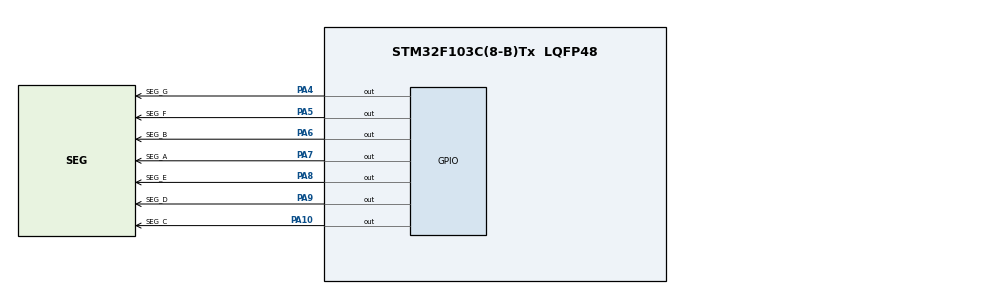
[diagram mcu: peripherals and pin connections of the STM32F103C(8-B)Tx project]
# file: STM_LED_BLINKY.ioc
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Mcu.Family=STM32F1
Mcu.Name=STM32F103C(8-B)Tx
Mcu.Package=LQFP48
NVIC.PriorityGroup=NVIC_PRIORITYGROUP_4
PA10.GPIO_Label=SEG_C
PA10.GPIO_OutputLevel=GPIO_PIN_RESET
PA10.Signal=GPIO_Output
PA13.Mode=Serial_Wire
PA13.Signal=SYS_JTMS-SWDIO
PA14.Mode=Serial_Wire
PA14.Signal=SYS_JTCK-SWCLK
PA4.GPIO_Label=SEG_G
PA4.GPIO_OutputLevel=GPIO_PIN_RESET
PA4.Signal=GPIO_Output
PA5.GPIO_Label=SEG_F
PA5.GPIO_OutputLevel=GPIO_PIN_RESET
PA5.Signal=GPIO_Output
PA6.GPIO_Label=SEG_B
PA6.GPIO_OutputLevel=GPIO_PIN_RESET
PA6.Signal=GPIO_Output
PA7.GPIO_Label=SEG_A
PA7.GPIO_OutputLevel=GPIO_PIN_RESET
PA7.Signal=GPIO_Output
PA8.GPIO_Label=SEG_E
PA8.GPIO_OutputLevel=GPIO_PIN_RESET
PA8.Signal=GPIO_Output
PA9.GPIO_Label=SEG_D
PA9.GPIO_OutputLevel=GPIO_PIN_RESET
PA9.Signal=GPIO_Output
ProjectManager.HeapSize=0x200
ProjectManager.StackSize=0x400
ProjectManager.TargetToolchain=STM32CubeIDE
RCC.APB1Freq_Value=8000000
RCC.APB2Freq_Value=8000000
board=custom

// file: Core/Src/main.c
/* USER CODE BEGIN Header */
/**
  ******************************************************************************
  * @file           : main.c
  * @brief          : Main program body
  ******************************************************************************
  * @attention
  *
  * Copyright (c) 2026 STMicroelectronics.
  * All rights reserved.
  *
  * This software is licensed under terms that can be found in the LICENSE file
  * in the root directory of this software component.
  * If no LICENSE file comes with this software, it is provided AS-IS.
  *
  ******************************************************************************
  */
/* USER CODE END Header */
#include "main.h"

/* USER CODE BEGIN PD */
#define SEGMENT_PINS  (SEG_A_Pin | SEG_B_Pin | SEG_C_Pin | SEG_D_Pin | \
                       SEG_E_Pin | SEG_F_Pin | SEG_G_Pin)
/* USER CODE END PD */

void SystemClock_Config(void);
static void MX_GPIO_Init(void);
/* USER CODE BEGIN PFP */
void display7SEG(int num);
/* USER CODE END PFP */

/* USER CODE BEGIN 0 */
/* The physical display is common-cathode: SET = on, RESET = off. */
static void setSegments(GPIO_PinState a, GPIO_PinState b, GPIO_PinState c,
                        GPIO_PinState d, GPIO_PinState e, GPIO_PinState f,
                        GPIO_PinState g)
{
  HAL_GPIO_WritePin(SEG_A_GPIO_Port, SEG_A_Pin, a);
  HAL_GPIO_WritePin(SEG_B_GPIO_Port, SEG_B_Pin, b);
  HAL_GPIO_WritePin(SEG_C_GPIO_Port, SEG_C_Pin, c);
  HAL_GPIO_WritePin(SEG_D_GPIO_Port, SEG_D_Pin, d);
  HAL_GPIO_WritePin(SEG_E_GPIO_Port, SEG_E_Pin, e);
  HAL_GPIO_WritePin(SEG_F_GPIO_Port, SEG_F_Pin, f);
  HAL_GPIO_WritePin(SEG_G_GPIO_Port, SEG_G_Pin, g);
}

void display7SEG(int num)
{
  /* Each call lists the states of A, B, C, D, E, F and G in that order. */
  switch (num)
  {
    case 0:
      setSegments(GPIO_PIN_SET, GPIO_PIN_SET, GPIO_PIN_SET, GPIO_PIN_SET,
                  GPIO_PIN_SET, GPIO_PIN_SET, GPIO_PIN_RESET);
      break;
    case 1:
      setSegments(GPIO_PIN_RESET, GPIO_PIN_SET, GPIO_PIN_SET, GPIO_PIN_RESET,
                  GPIO_PIN_RESET, GPIO_PIN_RESET, GPIO_PIN_RESET);
      break;
    case 2:
      setSegments(GPIO_PIN_SET, GPIO_PIN_SET, GPIO_PIN_RESET, GPIO_PIN_SET,
                  GPIO_PIN_SET, GPIO_PIN_RESET, GPIO_PIN_SET);
      break;
    case 3:
      setSegments(GPIO_PIN_SET, GPIO_PIN_SET, GPIO_PIN_SET, GPIO_PIN_SET,
                  GPIO_PIN_RESET, GPIO_PIN_RESET, GPIO_PIN_SET);
      break;
    case 4:
      setSegments(GPIO_PIN_RESET, GPIO_PIN_SET, GPIO_PIN_SET, GPIO_PIN_RESET,
                  GPIO_PIN_RESET, GPIO_PIN_SET, GPIO_PIN_SET);
      break;
    case 5:
      setSegments(GPIO_PIN_SET, GPIO_PIN_RESET, GPIO_PIN_SET, GPIO_PIN_SET,
                  GPIO_PIN_RESET, GPIO_PIN_SET, GPIO_PIN_SET);
      break;
    case 6:
      setSegments(GPIO_PIN_SET, GPIO_PIN_RESET, GPIO_PIN_SET, GPIO_PIN_SET,
                  GPIO_PIN_SET, GPIO_PIN_SET, GPIO_PIN_SET);
      break;
    case 7:
      setSegments(GPIO_PIN_SET, GPIO_PIN_SET, GPIO_PIN_SET, GPIO_PIN_RESET,
                  GPIO_PIN_RESET, GPIO_PIN_RESET, GPIO_PIN_RESET);
      break;
    case 8:
      setSegments(GPIO_PIN_SET, GPIO_PIN_SET, GPIO_PIN_SET, GPIO_PIN_SET,
                  GPIO_PIN_SET, GPIO_PIN_SET, GPIO_PIN_SET);
      break;
    case 9:
      setSegments(GPIO_PIN_SET, GPIO_PIN_SET, GPIO_PIN_SET, GPIO_PIN_SET,
                  GPIO_PIN_RESET, GPIO_PIN_SET, GPIO_PIN_SET);
      break;
    default:
      HAL_GPIO_WritePin(GPIOA, SEGMENT_PINS, GPIO_PIN_RESET);
      break;
  }
}
/* USER CODE END 0 */

int main(void)
{

  /* MCU Configuration--------------------------------------------------------*/

  /* Reset of all peripherals, Initializes the Flash interface and the Systick. */
  HAL_Init();

  /* Configure the system clock */
  SystemClock_Config();

  /* Initialize all configured peripherals */
  MX_GPIO_Init();
  /* USER CODE BEGIN 2 */
  int counter = 0;

  /* Startup hardware test: all seven segments on for two seconds. */
  HAL_GPIO_WritePin(GPIOA, SEGMENT_PINS, GPIO_PIN_SET);
  HAL_Delay(2000);
  HAL_GPIO_WritePin(GPIOA, SEGMENT_PINS, GPIO_PIN_RESET);
  HAL_Delay(500);
  /* USER CODE END 2 */

  /* Infinite loop */
  /* USER CODE BEGIN WHILE */
  while (1)
  {
    if (counter >= 10)
    {
      counter = 0;
    }

    display7SEG(counter++);
    HAL_Delay(1000);
    /* USER CODE END WHILE */

  }
}

void SystemClock_Config(void)
{
  RCC_OscInitTypeDef RCC_OscInitStruct = {0};
  RCC_ClkInitTypeDef RCC_ClkInitStruct = {0};

  /** Initializes the RCC Oscillators according to the specified parameters
  * in the RCC_OscInitTypeDef structure.
  */
  RCC_OscInitStruct.OscillatorType = RCC_OSCILLATORTYPE_HSI;
  RCC_OscInitStruct.HSIState = RCC_HSI_ON;
  RCC_OscInitStruct.HSICalibrationValue = RCC_HSICALIBRATION_DEFAULT;
  RCC_OscInitStruct.PLL.PLLState = RCC_PLL_NONE;
  if (HAL_RCC_OscConfig(&RCC_OscInitStruct) != HAL_OK)
  {
    Error_Handler();
  }

  /** Initializes the CPU, AHB and APB buses clocks
  */
  RCC_ClkInitStruct.ClockType = RCC_CLOCKTYPE_HCLK|RCC_CLOCKTYPE_SYSCLK
                              |RCC_CLOCKTYPE_PCLK1|RCC_CLOCKTYPE_PCLK2;
  RCC_ClkInitStruct.SYSCLKSource = RCC_SYSCLKSOURCE_HSI;
  RCC_ClkInitStruct.AHBCLKDivider = RCC_SYSCLK_DIV1;
  RCC_ClkInitStruct.APB1CLKDivider = RCC_HCLK_DIV1;
  RCC_ClkInitStruct.APB2CLKDivider = RCC_HCLK_DIV1;

  if (HAL_RCC_ClockConfig(&RCC_ClkInitStruct, FLASH_LATENCY_0) != HAL_OK)
  {
    Error_Handler();
  }
}

static void MX_GPIO_Init(void)
{
  GPIO_InitTypeDef GPIO_InitStruct = {0};

  /* GPIO Ports Clock Enable */
  __HAL_RCC_GPIOA_CLK_ENABLE();

  /*Configure GPIO pin Output Level */
  HAL_GPIO_WritePin(GPIOA, SEGMENT_PINS, GPIO_PIN_RESET);

  /*Configure GPIO pins : PA4 PA5 PA6 PA7 PA8 PA9 PA10 */
  GPIO_InitStruct.Pin = SEGMENT_PINS;
  GPIO_InitStruct.Mode = GPIO_MODE_OUTPUT_PP;
  GPIO_InitStruct.Pull = GPIO_NOPULL;
  GPIO_InitStruct.Speed = GPIO_SPEED_FREQ_LOW;
  HAL_GPIO_Init(GPIOA, &GPIO_InitStruct);

}

void Error_Handler(void)
{
  __disable_irq();
  while (1)
  {
  }
}
